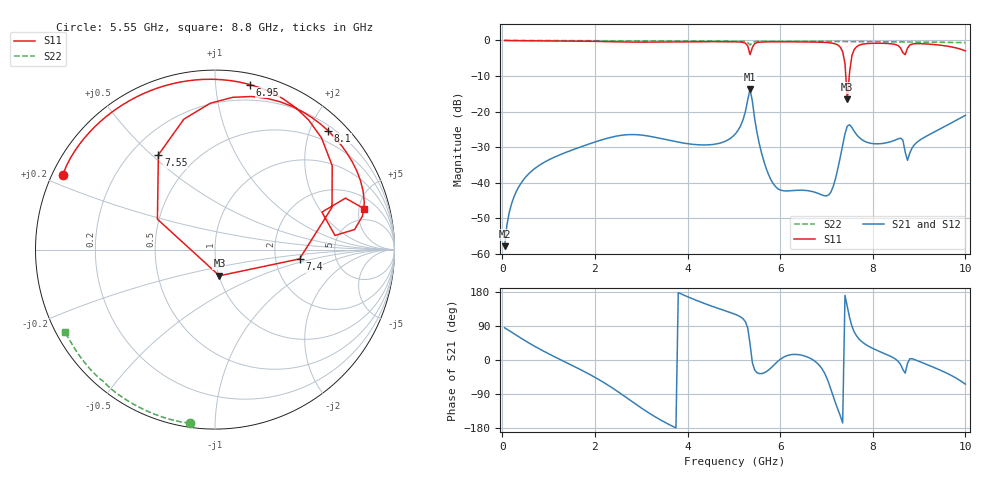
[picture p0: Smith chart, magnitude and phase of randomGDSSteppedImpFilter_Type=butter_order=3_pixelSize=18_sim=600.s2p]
! freq	dB(S11)	phase(S11)	dB(S12)	phase(S12)
!  dB(S21)	phase(S21)	dB(S22)	phase(S22)
!S-par simulation data
#  GHz  S  DB  R 50
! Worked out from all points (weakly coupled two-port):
!   200 points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, 50 MHz to 10 GHz, reference 50 ohm
!   highest |S21| = -13.72 dB at 5.35 GHz (marker M1); lowest = -57.9 dB at 50 MHz (marker M2)
!   lowest |S11| = -16.6 dB at 7.45 GHz (marker M3), VSWR 1.35, Z = 50.3 - j15 ohm
!   |S11| at or under -10 dB: 7.417 GHz to 7.492 GHz (74.95 MHz wide, 1.01 % of centre)
!   |S22| runs from -1.2 to 0.0 dB; largest |S21 - S12| = 0
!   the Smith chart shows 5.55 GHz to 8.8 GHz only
!   S11 on the Smith chart (normalised r, x): 5.55 GHz: 0.03, +0.23; 6.95 GHz: 0.08, +1.23; 7.4 GHz: 2.75, -0.37; 7.55 GHz: 0.31, +0.53; 8.1 GHz: 0.28, +2.30; 8.8 GHz: 3.20, +5.65
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0.05  -0.01 -7.3  -57.86 85.0  -57.86 85.0  -0.00 -1.0
0.25  -0.05 -35.6  -44.06 69.6  -44.06 69.6  -0.01 -4.9
0.75  -0.12 -99.7  -35.55 32.7  -35.55 32.7  -0.02 -14.6
1.75  -0.21 154.4  -29.68 -29.2  -29.68 -29.2  -0.05 -33.7
2.3  -0.34 87.7  -27.40 -67.6  -27.40 -67.6  -0.06 -43.9
2.75  -0.45 21.1  -26.48 -105.2  -26.48 -105.2  -0.08 -52.2
3.4  -0.44 -68.6  -27.52 -157.0  -27.52 -157.0  -0.09 -63.8
4.2  -0.36 -139.0  -29.32 156.9  -29.32 156.9  -0.12 -77.8
5.05  -0.39 170.0  -26.01 119.4  -26.01 119.4  -0.17 -92.8
5.35  -4.00 154.6  -13.72 42.1  -13.72 42.1  -1.25 -97.5
5.55  -0.49 153.7  -29.07 -35.9  -29.07 -35.9  -0.22 -98.3
5.95  -0.38 131.9  -41.71 -3.4  -41.71 -3.4  -0.19 -105.8
6.7  -0.44 93.7  -42.50 1.0  -42.50 1.0  -0.23 -118.0
6.95  -0.54 78.0  -43.66 -32.5  -43.66 -32.5  -0.25 -122.0
7.4  -6.49 -6.3  -26.25 170.6  -26.25 170.6  -0.32 -129.1
7.45  -16.59 -80.5  -24.09 141.0  -24.09 141.0  -0.33 -129.8
7.55  -4.22 120.9  -24.52 89.1  -24.52 89.1  -0.32 -131.2
8.1  -0.78 46.5  -29.07 25.0  -29.07 25.0  -0.35 -140.0
8.35  -0.88 29.0  -28.62 11.8  -28.62 11.8  -0.38 -144.0
8.8  -1.30 15.3  -31.65 3.2  -31.65 3.2  -0.42 -151.2
9.4  -1.25 -36.1  -25.26 -23.7  -25.26 -23.7  -0.50 -161.0
10  -2.92 -104.4  -21.06 -63.7  -21.06 -63.7  -0.61 -171.2
